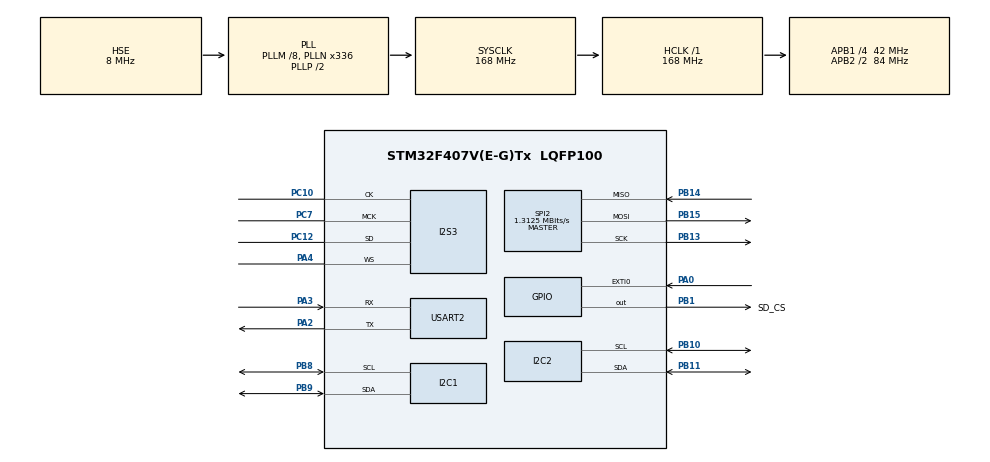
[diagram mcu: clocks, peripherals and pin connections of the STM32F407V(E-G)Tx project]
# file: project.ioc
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Dma.Request0=SPI3_TX
Dma.SPI3_TX.0.Direction=DMA_MEMORY_TO_PERIPH
Dma.SPI3_TX.0.FIFOMode=DMA_FIFOMODE_ENABLE
Dma.SPI3_TX.0.FIFOThreshold=DMA_FIFO_THRESHOLD_FULL
Dma.SPI3_TX.0.Instance=DMA1_Stream5
Dma.SPI3_TX.0.MemBurst=DMA_MBURST_SINGLE
Dma.SPI3_TX.0.MemDataAlignment=DMA_MDATAALIGN_HALFWORD
Dma.SPI3_TX.0.MemInc=DMA_MINC_ENABLE
Dma.SPI3_TX.0.Mode=DMA_CIRCULAR
Dma.SPI3_TX.0.PeriphBurst=DMA_PBURST_SINGLE
Dma.SPI3_TX.0.PeriphDataAlignment=DMA_PDATAALIGN_HALFWORD
Dma.SPI3_TX.0.PeriphInc=DMA_PINC_DISABLE
Dma.SPI3_TX.0.Priority=DMA_PRIORITY_LOW
I2C1.I2C_Mode=I2C_Fast
I2S3.ErrorAudioFreq=-0.27 %
I2S3.FullDuplexMode=I2S_FULLDUPLEXMODE_DISABLE
I2S3.Instance=SPI$Index
I2S3.RealAudioFreq=7.978 KHz
I2S3.VirtualMode=I2S_MODE_MASTER
Mcu.Family=STM32F4
Mcu.Name=STM32F407V(E-G)Tx
Mcu.Package=LQFP100
NVIC.DMA1_Stream5_IRQn=true\:0\:0\:false\:false\:true\:false\:true\:true
NVIC.EXTI0_IRQn=true\:5\:0\:true\:false\:true\:true\:true\:true
NVIC.PriorityGroup=NVIC_PRIORITYGROUP_4
NVIC.TIM2_IRQn=true\:15\:0\:false\:false\:true\:false\:true\:true
NVIC.TimeBase=TIM2_IRQn
NVIC.TimeBaseIP=TIM2
PA0-WKUP.Signal=GPXTI0
PA2.Mode=Asynchronous
PA2.Signal=USART2_TX
PA3.Mode=Asynchronous
PA3.Signal=USART2_RX
PA4.Mode=Half_Duplex_Master
PA4.Signal=I2S3_WS
PB1.GPIO_Label=SD_CS
PB1.Signal=GPIO_Output
PB10.Mode=I2C
PB10.Signal=I2C2_SCL
PB11.Mode=I2C
PB11.Signal=I2C2_SDA
PB13.Mode=Full_Duplex_Master
PB13.Signal=SPI2_SCK
PB14.Mode=Full_Duplex_Master
PB14.Signal=SPI2_MISO
PB15.Mode=Full_Duplex_Master
PB15.Signal=SPI2_MOSI
PB8.Mode=I2C
PB8.Signal=I2C1_SCL
PB9.Mode=I2C
PB9.Signal=I2C1_SDA
PC10.Mode=Half_Duplex_Master
PC10.Signal=I2S3_CK
PC12.Mode=Half_Duplex_Master
PC12.Signal=I2S3_SD
PC7.Mode=Master_Clock_Activated
PC7.Signal=I2S3_MCK
PH0-OSC_IN.Mode=HSE-External-Oscillator
PH0-OSC_IN.Signal=RCC_OSC_IN
PH1-OSC_OUT.Mode=HSE-External-Oscillator
PH1-OSC_OUT.Signal=RCC_OSC_OUT
ProjectManager.HeapSize=0x200
ProjectManager.StackSize=0x400
ProjectManager.TargetToolchain=STM32CubeIDE
RCC.48MHZClocksFreq_Value=84000000
RCC.AHBFreq_Value=168000000
RCC.APB1CLKDivider=RCC_HCLK_DIV4
RCC.APB1Freq_Value=42000000
RCC.APB1TimFreq_Value=84000000
RCC.APB2CLKDivider=RCC_HCLK_DIV2
RCC.APB2Freq_Value=84000000
RCC.APB2TimFreq_Value=168000000
RCC.CortexFreq_Value=168000000
RCC.HCLKFreq_Value=168000000
RCC.HSE_VALUE=8000000
RCC.HSI_VALUE=16000000
RCC.LSE_VALUE=32768
RCC.PLLM=8
RCC.PLLN=336
RCC.PLLSourceVirtual=RCC_PLLSOURCE_HSE
RCC.SYSCLKFreq_VALUE=168000000
RCC.SYSCLKSource=RCC_SYSCLKSOURCE_PLLCLK
RCC.VCOOutputFreq_Value=336000000
SPI2.BaudRatePrescaler=SPI_BAUDRATEPRESCALER_32
SPI2.CalculateBaudRate=1.3125 MBits/s
SPI2.Direction=SPI_DIRECTION_2LINES
SPI2.Mode=SPI_MODE_MASTER
SPI2.VirtualType=VM_MASTER
USART2.VirtualMode=VM_ASYNC
VP_FATFS_VS_Generic.Mode=User_defined
VP_SYS_VS_tim2.Mode=TIM2
board=custom

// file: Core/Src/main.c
/* USER CODE BEGIN Header */
/**
  ******************************************************************************
  * @file           : main.c
  * @brief          : Main program body
  ******************************************************************************
  * @attention
  *
  * Copyright (c) 2025 STMicroelectronics.
  * All rights reserved.
  *
  * This software is licensed under terms that can be found in the LICENSE file
  * in the root directory of this software component.
  * If no LICENSE file comes with this software, it is provided AS-IS.
  *
  ******************************************************************************
  */
/* USER CODE END Header */
#include "main.h"
#include "fatfs.h"

/* USER CODE BEGIN Includes */
#include "FreeRTOS.h"
#include "task.h"
#include "myprintf.h"
#include "string.h"
#include "File_Handling.h"
#include "semphr.h"
#include "queue.h"
#include "stdarg.h"
#include "adxl.h"
#include "math.h"
#include "../../ECUAL/I2C_LCD/I2C_LCD.h"
/* USER CODE END Includes */

/* USER CODE BEGIN PTD */
typedef enum {
	DISPLAY_OFF,
  MODE_SELECTION,
  REALTIME_DISPLAY,
  HISTORY_VIEW
} SystemState;

typedef enum {
	NO_PRESS,
	SINGLE_PRESS,
	LONG_PRESS,
	DOUBLE_PRESS
} eButtonEvent;

typedef struct {
	char message[128];
} RecordMessage;

typedef struct {
  float ax;
  float ay;
  float az;
  uint32_t current_step_count;
} PedometerData;

typedef struct {
  uint32_t index;
  uint32_t steps;
  uint32_t duration_ms;
} HistoryRecord;
/* USER CODE END PTD */

/* USER CODE BEGIN PD */
#define MyI2C_LCD I2C_LCD_1
#define mylcdprintf(idx, col, row, str)        mylcdprintf_ext(idx, col, row, str, true)
#define mylcdprintf_noclear(idx, col, row, str)  mylcdprintf_ext(idx, col, row, str, false)
#define MAX_HISTORY_RECORDS 20
/* USER CODE END PD */

I2C_HandleTypeDef hi2c1;
I2C_HandleTypeDef hi2c2;

I2S_HandleTypeDef hi2s3;
DMA_HandleTypeDef hdma_spi3_tx;

SPI_HandleTypeDef hspi2;

UART_HandleTypeDef huart2;

/* USER CODE BEGIN PV */
static uint32_t last_step_time = 0;
static uint32_t step_count = 0;
static uint32_t record_index = 0;
static HistoryRecord historyData[MAX_HISTORY_RECORDS];
static uint8_t total_history_count = 0;
static uint8_t current_history_index = 0;
TaskHandle_t buttonTaskHandle;
SystemState currentState = DISPLAY_OFF;
SemaphoreHandle_t fatfsMutex;
QueueHandle_t recordQueue;
QueueHandle_t PedometerDataQueue;
/* USER CODE END PV */

void SystemClock_Config(void);
static void MX_GPIO_Init(void);
static void MX_DMA_Init(void);
static void MX_SPI2_Init(void);
static void MX_USART2_UART_Init(void);
static void MX_I2C1_Init(void);
static void MX_I2S3_Init(void);
static void MX_I2C2_Init(void);

/* USER CODE BEGIN 0 */
void PedometerTask(void *pvParameters) {
  float ax, ay, az;
  float acc_mag;
  float prev_acc_mag = 0;
  PedometerData pedData;

  TickType_t xLastWakeTime = xTaskGetTickCount();
  const TickType_t xFrequency = pdMS_TO_TICKS(1000 / SAMPLE_RATE_HZ);

  while (1) {
    if (currentState == REALTIME_DISPLAY) {
      Adxl_Read_Acceleration(&ax, &ay, &az);

      acc_mag = sqrt(ax * ax + ay * ay + az * az);
      acc_mag = acc_mag - 1.0f; // Remove gravity

      if (prev_acc_mag < STEP_THRESHOLD && acc_mag >= STEP_THRESHOLD) {
        uint32_t current_time = xTaskGetTickCount() * portTICK_PERIOD_MS;

        if (current_time - last_step_time > STEP_DEBOUNCE_MS) {
          step_count++;

          myprintf("Step detected! Global step count: %lu\r\n", step_count);
          last_step_time = current_time;
        }
      }

      pedData.ax = ax;
      pedData.ay = ay;
      pedData.az = az;
      pedData.current_step_count = step_count;

      if (PedometerDataQueue != NULL) {
        xQueueSend(PedometerDataQueue, &pedData, pdMS_TO_TICKS(100));
      }

      prev_acc_mag = acc_mag;
    }

    vTaskDelayUntil(&xLastWakeTime, xFrequency);
  }
}

void RecordOperation(const char *format, ...){
	RecordMessage msg;
	va_list args;
	va_start(args, format);
	vsnprintf(msg.message, sizeof(msg.message), format, args);
	va_end(args);
	if (xQueueSend(recordQueue, &msg, pdMS_TO_TICKS(100)) != pdPASS){
		myprintf("Failed to send record message!\r\n");
	}
}

void PrintRecordFile(void) {
	static FIL recordFile;
	static FRESULT fr;
	UINT br;
	char buffer[128];
	xSemaphoreTake(fatfsMutex, portMAX_DELAY);
	fr = f_open(&recordFile, "record.csv", FA_READ);
	if (fr != FR_OK) {
		myprintf("Failed to open record.csv (Error: %d)\r\n", fr);
		xSemaphoreGive(fatfsMutex);
		return;
	}
	myprintf("Record file contents:\r\n");
	do {
		fr = f_read(&recordFile, buffer, sizeof(buffer) - 1, &br);
		if (fr != FR_OK) {
			myprintf("Error reading record.csv (Error: %d)\r\n", fr);
			break;
		}
		buffer[br] = '\0';
		myprintf("%s", buffer);
	} while (br == sizeof(buffer) - 1);

	f_close(&recordFile);
	xSemaphoreGive(fatfsMutex);
}

void RecordTask(void *pvParameters) {
	static FIL recordFile;
	static FRESULT fr;
	UINT bw;
	RecordMessage recordMsg;
	bool fileOpened = false;

	xSemaphoreTake(fatfsMutex, portMAX_DELAY);
	fr = f_open(&recordFile, "record.csv", FA_CREATE_ALWAYS | FA_WRITE);
	if (fr == FR_OK) {
		f_close(&recordFile);
		myprintf("Record file cleared.\r\n");
	} else {
		myprintf("Failed to clear record file, error = %d\r\n", fr);
	}
	xSemaphoreGive(fatfsMutex);

	for(;;){
		if (xQueueReceive(recordQueue, &recordMsg, portMAX_DELAY) == pdPASS) {
			xSemaphoreTake(fatfsMutex, portMAX_DELAY);
			if(!fileOpened) {
				fr = f_open(&recordFile, "record.csv", FA_OPEN_APPEND | FA_WRITE);
				if (fr != FR_OK){
					myprintf("RecordTask: Failed to open record.csv, error = %d\r\n", fr);
					xSemaphoreGive(fatfsMutex);
					continue;
				}
				fileOpened = true;
			}

			fr = f_write(&recordFile, recordMsg.message, strlen(recordMsg.message), &bw);
			if (fr == FR_OK){
				f_sync(&recordFile);
				myprintf("RecordTask: Wrote record entry.\r\n");

				f_close(&recordFile);
				fileOpened = false;
				xSemaphoreGive(fatfsMutex);
				PrintRecordFile();
			} else {
				myprintf("RecordTask: f_write error: %d\r\n", fr);
				xSemaphoreGive(fatfsMutex);
			}
		}
	}
}

void LoadHistoryFromSD(void) {
    static FIL recordfile;
    FRESULT fr;
    char line[64];

    total_history_count = 0;

    xSemaphoreTake(fatfsMutex, portMAX_DELAY);
    fr = f_open(&recordfile, "record.csv", FA_READ);
    if (fr == FR_OK) {
        while (f_gets(line, sizeof(line), &recordfile) != NULL) {
            if (total_history_count >= MAX_HISTORY_RECORDS) {
                break;
            }

            uint32_t idx, steps, dur;
            // Parse String: "Index,Steps,Duration"
            if (sscanf(line, "%lu,%lu,%lu", &idx, &steps, &dur) == 3) {
                historyData[total_history_count].index = idx;
                historyData[total_history_count].steps = steps;
                historyData[total_history_count].duration_ms = dur;
                total_history_count++;
            }
        }
        f_close(&recordfile);
        myprintf("History loaded: %d records.\r\n", total_history_count);
    } else {
        myprintf("LoadHistory: Failed to open record.csv (Error %d)\r\n", fr);
    }
    xSemaphoreGive(fatfsMutex);
}

bool buttonState() {
    static const uint32_t DEBOUNCE_MILLIS = 50;
    static uint32_t last_debounce_time = 0;
    static bool stable_state = false;
    static bool last_read_state = false;

    bool current_read = (HAL_GPIO_ReadPin(GPIOA, GPIO_PIN_0) == GPIO_PIN_SET);

    if (current_read != last_read_state) {
        last_debounce_time = HAL_GetTick();
    }

    if ((HAL_GetTick() - last_debounce_time) > DEBOUNCE_MILLIS) {
        if (current_read != stable_state) {
            stable_state = current_read;
        }
    }

    last_read_state = current_read;
    return stable_state;
}

eButtonEvent getButtonEvent() {
    static const uint32_t DOUBLE_GAP_MILLIS_MAX = 250;
    static const uint32_t LONG_MILLIS_MIN = 800;

    static uint32_t button_down_ts = 0;
    static uint32_t button_up_ts = 0;
    static bool double_pending = false;
    static bool long_press_fired = false;
    static bool prev_button_state = false;

    eButtonEvent event = NO_PRESS;
    uint32_t now = HAL_GetTick();
    bool current_state = buttonState();

    if (current_state && !prev_button_state) {
        button_down_ts = now;
        long_press_fired = false;
    }
    else if (!current_state && prev_button_state) {
        if (!long_press_fired) {
            if (double_pending && (now - button_up_ts <= DOUBLE_GAP_MILLIS_MAX)) {
                event = DOUBLE_PRESS;
                double_pending = false;
            } else {
                double_pending = true;
                button_up_ts = now;
            }
        }
    }
    else if (current_state && prev_button_state) {
        if (!long_press_fired && (now - button_down_ts >= LONG_MILLIS_MIN)) {
            event = LONG_PRESS;
            long_press_fired = true;
            double_pending = false;
        }
    }
    else if (!current_state && !prev_button_state) {
        if (double_pending && (now - button_up_ts > DOUBLE_GAP_MILLIS_MAX)) {
            event = SINGLE_PRESS;
            double_pending = false;
        }
    }

    prev_button_state = current_state;
    return event;
}

void ButtonTask(void *pvParameters) {
    static SystemState prevState = (SystemState)-1;
    int mode_selection_index = 0; // For navigating mode selection
    int prev_mode_selection_index = -1; // To track changes in mode selection for LCD updates
    PedometerData receivedPedData;

    uint8_t is_recording = 0; // 0 = Not Recording, 1 = Recording
    uint32_t record_start_time_ms = 0;
    uint32_t record_start_steps = 0;

    while (1) {
        vTaskDelay(pdMS_TO_TICKS(10));

        // State Change
        if (currentState != prevState) {
            switch (currentState) {
                case DISPLAY_OFF:
                    mylcdprintf(MyI2C_LCD, 0, 0, "Welcome to Pedometer");
                    mylcdprintf_noclear(MyI2C_LCD, 0, 2, "Press to Start");
                    break;

                case MODE_SELECTION:
                    mode_selection_index = 0;
                    prev_mode_selection_index = -1;

                    mylcdprintf(MyI2C_LCD, 0, 0, "Press to Select Mode");
                    mylcdprintf_noclear(MyI2C_LCD, 2, 1, "Real-time Display   ");
                    mylcdprintf_noclear(MyI2C_LCD, 2, 2, "History View        ");
                    break;

                case REALTIME_DISPLAY:
                    I2C_LCD_Clear(MyI2C_LCD);
                    is_recording = 0; // Reset recording state when entering real-time display
                    break;

                case HISTORY_VIEW:
                    I2C_LCD_Clear(MyI2C_LCD);
                    LoadHistoryFromSD();
                    current_history_index = 0;
                    break;

                default: break;
            }
            prevState = currentState;
        }

        // State-specific Updates
        switch (currentState) {
            case MODE_SELECTION:
                if (mode_selection_index != prev_mode_selection_index) {
                    if (mode_selection_index == 0) {

                        mylcdprintf_noclear(MyI2C_LCD, 0, 2, " ");
                        mylcdprintf_noclear(MyI2C_LCD, 0, 1, "> Real-time Display   ");
                    } else {
                        mylcdprintf_noclear(MyI2C_LCD, 0, 1, " ");
                        mylcdprintf_noclear(MyI2C_LCD, 0, 2, "> History View        ");
                    }
                    prev_mode_selection_index = mode_selection_index;
                }
                break;

            case REALTIME_DISPLAY:
                if (PedometerDataQueue != NULL && xQueueReceive(PedometerDataQueue, &receivedPedData, 0) == pdPASS) {
                    char display_str_0[20], display_str_1[20];
                    char ax_str[16], ay_str[16], az_str[16];

                    if (is_recording) {
                        uint32_t current_time_ms = xTaskGetTickCount() * portTICK_PERIOD_MS;
                        uint32_t duration_sec = (current_time_ms - record_start_time_ms) / 1000;
                        uint32_t session_steps = receivedPedData.current_step_count - record_start_steps;

                        snprintf(display_str_0, sizeof(display_str_0), "Time: %lu s        ", duration_sec);
                        snprintf(display_str_1, sizeof(display_str_1), "Rec Steps: %lu    ", session_steps);
                    } else {
                      snprintf(display_str_0, sizeof(display_str_0), "Ready to record    ");
                      snprintf(display_str_1, sizeof(display_str_1), "Total Steps:%lu     ", receivedPedData.current_step_count);
                    }

                    snprintf(ax_str, sizeof(ax_str), "X:%.2f", receivedPedData.ax);
                    snprintf(ay_str, sizeof(ay_str), "Y:%.2f", receivedPedData.ay);
                    snprintf(az_str, sizeof(az_str), "Z:%.2f", receivedPedData.az);

                    mylcdprintf_noclear(MyI2C_LCD, 0, 0, display_str_0);
                    mylcdprintf_noclear(MyI2C_LCD, 0, 1, display_str_1);
                    mylcdprintf_noclear(MyI2C_LCD, 0, 2, ax_str);
                    mylcdprintf_noclear(MyI2C_LCD, 10, 2, ay_str);
                    mylcdprintf_noclear(MyI2C_LCD, 0, 3, az_str);
                }
                break;

            case HISTORY_VIEW:
                if (total_history_count == 0) {
                    mylcdprintf_noclear(MyI2C_LCD, 0, 0, "No History Found  ");
                    mylcdprintf_noclear(MyI2C_LCD, 0, 1, "                  ");
                    mylcdprintf_noclear(MyI2C_LCD, 0, 2, "                  ");
                    mylcdprintf_noclear(MyI2C_LCD, 0, 3, "                  ");
                } else {
                    char str0[20], str1[20], str2[20];
                    // Get current history record based on current_history_index
                    HistoryRecord cur_rec = historyData[current_history_index];

                    // Display: "Rec: (1/2)"
                    snprintf(str0, sizeof(str0), "Rec: (%d/%d)  ", current_history_index + 1, total_history_count);
                    snprintf(str1, sizeof(str1), "Steps: %lu       ", cur_rec.steps);
                    snprintf(str2, sizeof(str2), "Time: %lu s      ", cur_rec.duration_ms / 1000);

                    mylcdprintf_noclear(MyI2C_LCD, 0, 0, str0);
                    mylcdprintf_noclear(MyI2C_LCD, 0, 1, str1);
                    mylcdprintf_noclear(MyI2C_LCD, 0, 2, str2);
                    mylcdprintf_noclear(MyI2C_LCD, 0, 3, "                  ");
                }
                break;
            default:
                break;
        }

        // Trigger Button Event
        eButtonEvent event = getButtonEvent();
        if (event != NO_PRESS) {
            switch (currentState) {
                case DISPLAY_OFF:
                    if (event == DOUBLE_PRESS) {
                        myprintf("Display Off: Double Press Detected.\r\n");
                        currentState = MODE_SELECTION;
                    }
                    break;

                case MODE_SELECTION:
                    if (event == SINGLE_PRESS) {
                        myprintf("MODE_SELECTION: Single Press Detected.\r\n");
                        // Change current selected mode
                        mode_selection_index = (mode_selection_index + 1) % 2;
                    } else if (event == DOUBLE_PRESS) {
                        myprintf("MODE_SELECTION: Double Press Detected.\r\n");
                        // Enter Current Selected Mode
                        if (mode_selection_index == 0) {
                            currentState = REALTIME_DISPLAY;
                        } else {
                            currentState = HISTORY_VIEW;
                        }
                    } else if (event == LONG_PRESS) {
                        myprintf("MODE_SELECTION: Long Press Detected. Exiting.\r\n");
                        currentState = DISPLAY_OFF;
                    }
                    break;

                case REALTIME_DISPLAY:
                    if (event == LONG_PRESS) {
                        myprintf("REALTIME_DISPLAY: Long Press Detected.\r\n");
                        currentState = MODE_SELECTION;
                    } else if (event == SINGLE_PRESS) {
                        myprintf("REALTIME_DISPLAY: Single Press Detected.\r\n");
                        // First Time: Start recording steps
                        if (is_recording == 0) {
                          is_recording = 1;
                            record_start_time_ms = xTaskGetTickCount() * portTICK_PERIOD_MS;
                            record_start_steps = receivedPedData.current_step_count;
                            myprintf("REALTIME_DISPLAY: Start Recording...\r\n");
                        } else {
                          // Second Time logic: Stop recording
                          is_recording = 0;
                          uint32_t end_time_ms = xTaskGetTickCount() * portTICK_PERIOD_MS;
                          uint32_t duration_ms = end_time_ms - record_start_time_ms;
                          uint32_t final_session_steps = receivedPedData.current_step_count - record_start_steps;
                          RecordOperation("%lu,%lu,%lu\r\n", record_index++, final_session_steps, duration_ms);

                          myprintf("REALTIME_DISPLAY: Stopped Recording.\r\n");
                          myprintf(">>> Session Result - Duration: %lu ms, Steps Taken: %lu <<<\r\n", duration_ms, final_session_steps);
                        }
                    }
                    break;

                case HISTORY_VIEW:
                    if (event == LONG_PRESS) {
                        myprintf("HISTORY_VIEW: Long Press Detected.\r\n");
                        currentState = MODE_SELECTION;
                    } else if (event == SINGLE_PRESS) {
                        myprintf("HISTORY_VIEW: Single Press Detected. Switching Record.\r\n");
                        // Switch between different history records
                        if (total_history_count > 0) {
                            current_history_index = (current_history_index + 1) % total_history_count;
                        }
                    }
                    break;

                default:
                    break;
            }
        }
    }
}

void HAL_GPIO_EXTI_Callback(uint16_t GPIO_Pin) {
	if (GPIO_Pin == GPIO_PIN_0){
		BaseType_t xHigherPriorityTaskWoken = pdFALSE;
		vTaskNotifyGiveFromISR(buttonTaskHandle, &xHigherPriorityTaskWoken);
		portYIELD_FROM_ISR(xHigherPriorityTaskWoken);
	}
}
/* USER CODE END 0 */

int main(void)
{

  /* MCU Configuration--------------------------------------------------------*/

  /* Reset of all peripherals, Initializes the Flash interface and the Systick. */
  HAL_Init();

  /* Configure the system clock */
  SystemClock_Config();

  /* Initialize all configured peripherals */
  MX_GPIO_Init();
  MX_DMA_Init();
  MX_SPI2_Init();
  MX_USART2_UART_Init();
  MX_FATFS_Init();
  MX_I2C1_Init();
  MX_I2S3_Init();
  MX_I2C2_Init();
  /* USER CODE BEGIN 2 */
  Adxl_Init();
  I2C_LCD_Init(MyI2C_LCD);

  if (Mount_SD() != FR_OK) {
    I2C_LCD_Clear(MyI2C_LCD);
    mylcdprintf(MyI2C_LCD, 0, 0, "SD Mount Failed!");

    while (1)
    {
      HAL_Delay(1000);
    }
  }

  fatfsMutex = xSemaphoreCreateMutex();
  if (fatfsMutex == NULL){
  	myprintf("Failed to create fatfsMutex!\r\n");
  }
  recordQueue = xQueueCreate(10, sizeof(RecordMessage));
  if (recordQueue == NULL){
  	myprintf("Failed to create recordQueue!\r\n");
  }

  PedometerDataQueue = xQueueCreate(10, sizeof(PedometerData));
  if (PedometerDataQueue == NULL){
  	myprintf("Failed to create PedometerDataQueue!\r\n");
  }

  xTaskCreate(RecordTask, "RecordTask", 512, NULL, 3, NULL);
  xTaskCreate(ButtonTask, "ButtonTask", 512, NULL, 1, &buttonTaskHandle);
  xTaskCreate(PedometerTask, "PedometerTask", 256, NULL, 2, NULL);
  vTaskStartScheduler();

  /* USER CODE END 2 */

  /* Infinite loop */
  while (1)
  {

  }
}

void SystemClock_Config(void)
{
  RCC_OscInitTypeDef RCC_OscInitStruct = {0};
  RCC_ClkInitTypeDef RCC_ClkInitStruct = {0};

  /** Configure the main internal regulator output voltage
  */
  __HAL_RCC_PWR_CLK_ENABLE();
  __HAL_PWR_VOLTAGESCALING_CONFIG(PWR_REGULATOR_VOLTAGE_SCALE1);

  /** Initializes the RCC Oscillators according to the specified parameters
  * in the RCC_OscInitTypeDef structure.
  */
  RCC_OscInitStruct.OscillatorType = RCC_OSCILLATORTYPE_HSE;
  RCC_OscInitStruct.HSEState = RCC_HSE_ON;
  RCC_OscInitStruct.PLL.PLLState = RCC_PLL_ON;
  RCC_OscInitStruct.PLL.PLLSource = RCC_PLLSOURCE_HSE;
  RCC_OscInitStruct.PLL.PLLM = 8;
  RCC_OscInitStruct.PLL.PLLN = 336;
  RCC_OscInitStruct.PLL.PLLP = RCC_PLLP_DIV2;
  RCC_OscInitStruct.PLL.PLLQ = 4;
  if (HAL_RCC_OscConfig(&RCC_OscInitStruct) != HAL_OK)
  {
    Error_Handler();
  }

  /** Initializes the CPU, AHB and APB buses clocks
  */
  RCC_ClkInitStruct.ClockType = RCC_CLOCKTYPE_HCLK|RCC_CLOCKTYPE_SYSCLK
                              |RCC_CLOCKTYPE_PCLK1|RCC_CLOCKTYPE_PCLK2;
  RCC_ClkInitStruct.SYSCLKSource = RCC_SYSCLKSOURCE_PLLCLK;
  RCC_ClkInitStruct.AHBCLKDivider = RCC_SYSCLK_DIV1;
  RCC_ClkInitStruct.APB1CLKDivider = RCC_HCLK_DIV4;
  RCC_ClkInitStruct.APB2CLKDivider = RCC_HCLK_DIV2;

  if (HAL_RCC_ClockConfig(&RCC_ClkInitStruct, FLASH_LATENCY_5) != HAL_OK)
  {
    Error_Handler();
  }
}

static void MX_I2C1_Init(void)
{

  hi2c1.Instance = I2C1;
  hi2c1.Init.ClockSpeed = 400000;
  hi2c1.Init.DutyCycle = I2C_DUTYCYCLE_2;
  hi2c1.Init.OwnAddress1 = 0;
  hi2c1.Init.AddressingMode = I2C_ADDRESSINGMODE_7BIT;
  hi2c1.Init.DualAddressMode = I2C_DUALADDRESS_DISABLE;
  hi2c1.Init.OwnAddress2 = 0;
  hi2c1.Init.GeneralCallMode = I2C_GENERALCALL_DISABLE;
  hi2c1.Init.NoStretchMode = I2C_NOSTRETCH_DISABLE;
  if (HAL_I2C_Init(&hi2c1) != HAL_OK)
  {
    Error_Handler();
  }

}

static void MX_I2C2_Init(void)
{

  hi2c2.Instance = I2C2;
  hi2c2.Init.ClockSpeed = 100000;
  hi2c2.Init.DutyCycle = I2C_DUTYCYCLE_2;
  hi2c2.Init.OwnAddress1 = 0;
  hi2c2.Init.AddressingMode = I2C_ADDRESSINGMODE_7BIT;
  hi2c2.Init.DualAddressMode = I2C_DUALADDRESS_DISABLE;
  hi2c2.Init.OwnAddress2 = 0;
  hi2c2.Init.GeneralCallMode = I2C_GENERALCALL_DISABLE;
  hi2c2.Init.NoStretchMode = I2C_NOSTRETCH_DISABLE;
  if (HAL_I2C_Init(&hi2c2) != HAL_OK)
  {
    Error_Handler();
  }

}

static void MX_I2S3_Init(void)
{

  hi2s3.Instance = SPI3;
  hi2s3.Init.Mode = I2S_MODE_MASTER_TX;
  hi2s3.Init.Standard = I2S_STANDARD_PHILIPS;
  hi2s3.Init.DataFormat = I2S_DATAFORMAT_16B;
  hi2s3.Init.MCLKOutput = I2S_MCLKOUTPUT_ENABLE;
  hi2s3.Init.AudioFreq = I2S_AUDIOFREQ_8K;
  hi2s3.Init.CPOL = I2S_CPOL_LOW;
  hi2s3.Init.ClockSource = I2S_CLOCK_PLL;
  hi2s3.Init.FullDuplexMode = I2S_FULLDUPLEXMODE_DISABLE;
  if (HAL_I2S_Init(&hi2s3) != HAL_OK)
  {
    Error_Handler();
  }

}

static void MX_SPI2_Init(void)
{

  /* SPI2 parameter configuration*/
  hspi2.Instance = SPI2;
  hspi2.Init.Mode = SPI_MODE_MASTER;
  hspi2.Init.Direction = SPI_DIRECTION_2LINES;
  hspi2.Init.DataSize = SPI_DATASIZE_8BIT;
  hspi2.Init.CLKPolarity = SPI_POLARITY_LOW;
  hspi2.Init.CLKPhase = SPI_PHASE_1EDGE;
  hspi2.Init.NSS = SPI_NSS_SOFT;
  hspi2.Init.BaudRatePrescaler = SPI_BAUDRATEPRESCALER_32;
  hspi2.Init.FirstBit = SPI_FIRSTBIT_MSB;
  hspi2.Init.TIMode = SPI_TIMODE_DISABLE;
  hspi2.Init.CRCCalculation = SPI_CRCCALCULATION_DISABLE;
  hspi2.Init.CRCPolynomial = 10;
  if (HAL_SPI_Init(&hspi2) != HAL_OK)
  {
    Error_Handler();
  }

}

static void MX_USART2_UART_Init(void)
{

  huart2.Instance = USART2;
  huart2.Init.BaudRate = 115200;
  huart2.Init.WordLength = UART_WORDLENGTH_8B;
  huart2.Init.StopBits = UART_STOPBITS_1;
  huart2.Init.Parity = UART_PARITY_NONE;
  huart2.Init.Mode = UART_MODE_TX_RX;
  huart2.Init.HwFlowCtl = UART_HWCONTROL_NONE;
  huart2.Init.OverSampling = UART_OVERSAMPLING_16;
  if (HAL_UART_Init(&huart2) != HAL_OK)
  {
    Error_Handler();
  }

}

static void MX_DMA_Init(void)
{

  /* DMA controller clock enable */
  __HAL_RCC_DMA1_CLK_ENABLE();

  /* DMA interrupt init */
  /* DMA1_Stream5_IRQn interrupt configuration */
  HAL_NVIC_SetPriority(DMA1_Stream5_IRQn, 0, 0);
  HAL_NVIC_EnableIRQ(DMA1_Stream5_IRQn);

}

static void MX_GPIO_Init(void)
{
  GPIO_InitTypeDef GPIO_InitStruct = {0};

  /* GPIO Ports Clock Enable */
  __HAL_RCC_GPIOH_CLK_ENABLE();
  __HAL_RCC_GPIOA_CLK_ENABLE();
  __HAL_RCC_GPIOB_CLK_ENABLE();
  __HAL_RCC_GPIOC_CLK_ENABLE();

  /*Configure GPIO pin Output Level */
  HAL_GPIO_WritePin(SD_CS_GPIO_Port, SD_CS_Pin, GPIO_PIN_RESET);

  /*Configure GPIO pin : PA0 */
  GPIO_InitStruct.Pin = GPIO_PIN_0;
  GPIO_InitStruct.Mode = GPIO_MODE_IT_RISING;
  GPIO_InitStruct.Pull = GPIO_NOPULL;
  HAL_GPIO_Init(GPIOA, &GPIO_InitStruct);

  /*Configure GPIO pin : SD_CS_Pin */
  GPIO_InitStruct.Pin = SD_CS_Pin;
  GPIO_InitStruct.Mode = GPIO_MODE_OUTPUT_PP;
  GPIO_InitStruct.Pull = GPIO_NOPULL;
  GPIO_InitStruct.Speed = GPIO_SPEED_FREQ_LOW;
  HAL_GPIO_Init(SD_CS_GPIO_Port, &GPIO_InitStruct);

  /* EXTI interrupt init*/
  HAL_NVIC_SetPriority(EXTI0_IRQn, 5, 0);
  HAL_NVIC_EnableIRQ(EXTI0_IRQn);

}

void HAL_TIM_PeriodElapsedCallback(TIM_HandleTypeDef *htim)
{
  if (htim->Instance == TIM2) {
    HAL_IncTick();
  }
}

void Error_Handler(void)
{
  __disable_irq();
  while (1)
  {
  }
}
